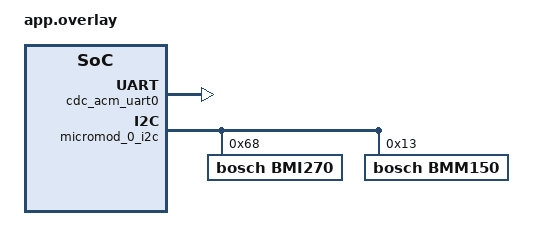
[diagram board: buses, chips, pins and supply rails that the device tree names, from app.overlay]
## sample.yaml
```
sample:
  name: BMI270 Sensor sample
tests:
  sample.sensor.bmi270:
    harness: sensor
    tags:
      - samples
      - sensor
    depends_on: micromod_0_i2c
    
sample:
  name: BMM150 Sensor Sample
tests:
  sample.sensor.bmm150:
    harness: sensor
    tags: sensors
    depends_on: micromod_0_i2c
    filter: dt_compat_enabled("bosch,bmm150")
    
sample:
  name: CDC ACM USB
tests:
  sample.usb.cdc-acm:
    depends_on: usb_device
    tags: usb
    arch_exclude: posix
    harness: console
    harness_config:
      type: one_line
      regex:
        - "Wait for DTR"
  sample.usb_device_next.cdc-acm:
    depends_on: usbd
    tags: usb
    extra_args: CONF_FILE="usbd_next_prj.conf"
    integration_platforms:
      - nrf52840dk/nrf52840
      - nrf54h20dk/nrf54h20/cpuapp
      - frdm_k64f
      - stm32f723e_disco
      - nucleo_f413zh
      - mimxrt685_evk/mimxrt685s/cm33
      - mimxrt1060_evk/mimxrt1062/qspi
      - max32690evkit/max32690/m4
    harness: console
    harness_config:
      type: one_line
      regex:
        - "Wait for DTR"
  sample.usb.cdc-acm.buildonly:
    depends_on: usb_device
    tags: usb
    arch_allow: posix
    build_only: true
    integration_platforms:
      - native_sim
```

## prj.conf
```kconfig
#CONFIG_STDOUT_CONSOLE=y
CONFIG_USB_DEVICE_STACK=y
CONFIG_USB_DEVICE_PRODUCT="Zephyr CDC ACM sample"
CONFIG_USB_DEVICE_VID=0x16c0
CONFIG_USB_DEVICE_PID=0x0483
CONFIG_LOG=y
CONFIG_USB_DRIVER_LOG_LEVEL_ERR=y
CONFIG_USB_DEVICE_LOG_LEVEL_ERR=y
CONFIG_SERIAL=y
CONFIG_UART_INTERRUPT_DRIVEN=y
CONFIG_UART_LINE_CTRL=y
CONFIG_USB_DEVICE_INITIALIZE_AT_BOOT=n
CONFIG_GPIO=y
CONFIG_SPI=y
CONFIG_SPI_ASYNC=y
CONFIG_POLL=y
CONFIG_STATIC_INIT_GNU=y

# Enable uart driver
CONFIG_SERIAL=y

# Console
CONFIG_CONSOLE=y
CONFIG_UART_CONSOLE=y
CONFIG_USB_CDC_ACM_LOG_LEVEL_DBG=n
#CONFIG_SPI_LOG_LEVEL_DBG=y

CONFIG_I2C=y
CONFIG_SENSOR=y
CONFIG_BMI270=y
CONFIG_CBPRINTF_FP_SUPPORT=y
```

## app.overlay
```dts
/*
 * Copyright (c) 2021 Bosch Sensortec GmbH
 *
 * SPDX-License-Identifier: Apache-2.0
 */

&zephyr_udc0 {
	cdc_acm_uart0 {
		compatible = "zephyr,cdc-acm-uart";
		label = "Zephyr USB CDC-ACM";
	};
};

&micromod_0_i2c {
	status = "okay";

	bmi270@68 {
		compatible = "bosch,bmi270";
		reg = <0x68>;
    label = "BMI270";
	};
  
	bmm150@13 {
		compatible = "bosch,bmm150";
		reg = <0x13>;
		label = "BMM150";
	};
};
```

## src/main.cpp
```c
/*
 * Copyright (c) 2021 Bosch Sensortec GmbH
 *
 * SPDX-License-Identifier: Apache-2.0
 */


#include <sample_usbd.h>

#include <stdio.h>
#include <string.h>
#include <zephyr/device.h>
#include <zephyr/drivers/uart.h>
#include <zephyr/kernel.h>
#include <zephyr/sys/ring_buffer.h>

#include <zephyr/usb/usb_device.h>
#include <zephyr/usb/usbd.h>
#include <zephyr/logging/log.h>
#include <zephyr/drivers/gpio.h>

LOG_MODULE_REGISTER(cdc_acm_echo, LOG_LEVEL_INF);

#include "UARTDevice.h"

#include <zephyr/drivers/sensor.h>


const struct device *const usb_uart_dev = DEVICE_DT_GET_ONE(zephyr_cdc_acm_uart);


//UARTDevice SerialX(serial_dev);
UARTDevice USBSerial(usb_uart_dev);


inline int min(int a, int b) {
	return (a <= b)? a : b;
}

inline void delay(uint32_t ms) {
	k_sleep(K_MSEC(ms));
}


static inline void print_baudrate(const struct device *dev)
{
	uint32_t baudrate;
	int ret;

	ret = uart_line_ctrl_get(dev, UART_LINE_CTRL_BAUD_RATE, &baudrate);
	if (ret) {
		LOG_WRN("Failed to get baudrate, ret code %d", ret);
	} else {
		LOG_INF("Baudrate %u", baudrate);
	}
}

#if defined(CONFIG_USB_DEVICE_STACK_NEXT)
static struct usbd_context *sample_usbd;
K_SEM_DEFINE(dtr_sem, 0, 1);

static void sample_msg_cb(struct usbd_context *const ctx, const struct usbd_msg *msg)
{
	LOG_INF("USBD message: %s", usbd_msg_type_string(msg->type));

	if (usbd_can_detect_vbus(ctx)) {
		if (msg->type == USBD_MSG_VBUS_READY) {
			if (usbd_enable(ctx)) {
				LOG_ERR("Failed to enable device support");
			}
		}

		if (msg->type == USBD_MSG_VBUS_REMOVED) {
			if (usbd_disable(ctx)) {
				LOG_ERR("Failed to disable device support");
			}
		}
	}

	if (msg->type == USBD_MSG_CDC_ACM_CONTROL_LINE_STATE) {
		uint32_t dtr = 0U;

		uart_line_ctrl_get(msg->dev, UART_LINE_CTRL_DTR, &dtr);
		if (dtr) {
			k_sem_give(&dtr_sem);
		}
	}

	if (msg->type == USBD_MSG_CDC_ACM_LINE_CODING) {
		print_baudrate(msg->dev);
	}
}

static int enable_usb_device_next(void)
{
	int err;

	sample_usbd = sample_usbd_init_device(sample_msg_cb);
	if (sample_usbd == NULL) {
		LOG_ERR("Failed to initialize USB device");
		return -ENODEV;
	}

	if (!usbd_can_detect_vbus(sample_usbd)) {
		err = usbd_enable(sample_usbd);
		if (err) {
			LOG_ERR("Failed to enable device support");
			return err;
		}
	}

	LOG_INF("USB device support enabled");

	return 0;
}
#endif /* defined(CONFIG_USB_DEVICE_STACK_NEXT) */



// Need to do this.
unsigned long micros(void) {
#ifdef CONFIG_TIMER_HAS_64BIT_CYCLE_COUNTER
  return k_cyc_to_us_floor32(k_cycle_get_64());
#else
  return k_cyc_to_us_floor32(k_cycle_get_32());
#endif
 }



int main(void)
{
  int ret;
  
//===============================================================	
// BUGBUG:: need to wrap this in class...
#if defined(CONFIG_USB_DEVICE_STACK_NEXT)
		ret = enable_usb_device_next();
#else
		ret = usb_enable(NULL);
#endif

	if (ret != 0) {
		LOG_ERR("Failed to enable USB");
		return 0;
	}

//	ring_buf_init(&ringbuf, sizeof(ring_buffer), ring_buffer);

	LOG_INF("Wait for DTR");

#if defined(CONFIG_USB_DEVICE_STACK_NEXT)
	k_sem_take(&dtr_sem, K_FOREVER);
#else
	while (true) {
		uint32_t dtr = 0U;

		uart_line_ctrl_get(usb_uart_dev, UART_LINE_CTRL_DTR, &dtr);
		if (dtr) {
			break;
		} else {
			/* Give CPU resources to low priority threads. */
			k_sleep(K_MSEC(100));
		}
	}
#endif

	LOG_INF("DTR set");

	/* They are optional, we use them to test the interrupt endpoint */
	ret = uart_line_ctrl_set(usb_uart_dev, UART_LINE_CTRL_DCD, 1);
	if (ret) {
		LOG_WRN("Failed to set DCD, ret code %d", ret);
	}

	ret = uart_line_ctrl_set(usb_uart_dev, UART_LINE_CTRL_DSR, 1);
	if (ret) {
		LOG_WRN("Failed to set DSR, ret code %d", ret);
	}

	/* Wait 100ms for the host to do all settings */
	k_msleep(100);

#ifndef CONFIG_USB_DEVICE_STACK_NEXT
	print_baudrate(usb_uart_dev);
#endif
//	uart_irq_callback_set(usb_uart_dev, interrupt_handler);
	/* Enable rx interrupts */
//	uart_irq_rx_enable(usb_uart_dev);

	USBSerial.begin();
	//SerialX.begin();

//	USBSerial.print("Print connector pins\n");
//  	for (size_t i = 0; i < ARRAY_SIZE(connector_pins); i++) {
//  		USBSerial.printf("%u %p %u\n", i, connector_pins[i].port, connector_pins[i].pin);
//  	}
  	// Main loop, would be nice if we setup events for the two RX queues, but startof KISS

  // find BMI270
	const struct device *const dev = DEVICE_DT_GET_ONE(bosch_bmi270);
	struct sensor_value acc[3], gyr[3];
	struct sensor_value full_scale, sampling_freq, oversampling;

	if (!device_is_ready(dev)) {
		USBSerial.printf("BMI270 %s is not ready\n", dev->name);
		return 0;
	}

	USBSerial.printf("BMI270 %p name is %s\n", dev, dev->name);

	/* Setting scale in G, due to loss of precision if the SI unit m/s^2
	 * is used
	 */
	full_scale.val1 = 2;            /* G */
	full_scale.val2 = 0;
	sampling_freq.val1 = 100;       /* Hz. Performance mode */
	sampling_freq.val2 = 0;
	oversampling.val1 = 1;          /* Normal mode */
	oversampling.val2 = 0;

	sensor_attr_set(dev, SENSOR_CHAN_ACCEL_XYZ, SENSOR_ATTR_FULL_SCALE,
			&full_scale);
	sensor_attr_set(dev, SENSOR_CHAN_ACCEL_XYZ, SENSOR_ATTR_OVERSAMPLING,
			&oversampling);
	/* Set sampling frequency last as this also sets the appropriate
	 * power mode. If already sampling, change to 0.0Hz before changing
	 * other attributes
	 */
	sensor_attr_set(dev, SENSOR_CHAN_ACCEL_XYZ,
			SENSOR_ATTR_SAMPLING_FREQUENCY,
			&sampling_freq);


	/* Setting scale in degrees/s to match the sensor scale */
	full_scale.val1 = 500;          /* dps */
	full_scale.val2 = 0;
	sampling_freq.val1 = 100;       /* Hz. Performance mode */
	sampling_freq.val2 = 0;
	oversampling.val1 = 1;          /* Normal mode */
	oversampling.val2 = 0;

	sensor_attr_set(dev, SENSOR_CHAN_GYRO_XYZ, SENSOR_ATTR_FULL_SCALE,
			&full_scale);
	sensor_attr_set(dev, SENSOR_CHAN_GYRO_XYZ, SENSOR_ATTR_OVERSAMPLING,
			&oversampling);
	/* Set sampling frequency last as this also sets the appropriate
	 * power mode. If already sampling, change sampling frequency to
	 * 0.0Hz before changing other attributes
	 */
	sensor_attr_set(dev, SENSOR_CHAN_GYRO_XYZ,
			SENSOR_ATTR_SAMPLING_FREQUENCY,
			&sampling_freq);

	while (1) {
		/* 10ms period, 100Hz Sampling frequency */
		k_sleep(K_MSEC(10));

		sensor_sample_fetch(dev);

		sensor_channel_get(dev, SENSOR_CHAN_ACCEL_XYZ, acc);
		sensor_channel_get(dev, SENSOR_CHAN_GYRO_XYZ, gyr);
    
/**
 * @brief Representation of a sensor readout value.
 *  extracted from sensor.h
 * The value is represented as having an integer and a fractional part,
 * and can be obtained using the formula val1 + val2 * 10^(-6). Negative
 * values also adhere to the above formula, but may need special attention.
 * Here are some examples of the value representation:
 *
 *      0.5: val1 =  0, val2 =  500000
 *     -0.5: val1 =  0, val2 = -500000
 *     -1.0: val1 = -1, val2 =  0
 *     -1.5: val1 = -1, val2 = -500000
 */
    float accel[3], gyro[3];
    for(uint8_t i = 0; i < 3; i++) {
      accel[i] = (float)acc[i].val1 + (float)acc[i].val2 / 1000000;
      gyro[i] =  (float)gyr[i].val1 + (float)gyr[i].val2 / 1000000;
    }
    USBSerial.printf("AX: %.6f; AY: %.6f; AZ: %.6f; GX: %.6f; GY: %.6f; GZ: %.6f;\n", accel[0], accel[1],accel[2], gyro[0],gyro[1], gyro[2]);
	}
	return 0;
}
```

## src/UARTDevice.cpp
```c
#include "UARTDevice.h"
#include <zephyr/logging/log.h>

// This is more or less the same as the Arduino wrapper...

void UARTDevice::begin() {
	if (!device_is_ready(_uart)) {
		printk("ERROR: UART device not ready");
		return;;
	}
	// probably more later, just make sure rx is setup as well as our handler
	uart_irq_callback_user_data_set(_uart, UARTDevice::interrupt_handler, this);

	// Clear the two buffers.
	k_sem_take(&_rx_sem, K_FOREVER);
	ring_buf_reset(&_rx_ringbuf);
	k_sem_give(&_rx_sem);

	k_sem_take(&_tx_sem, K_FOREVER);
	ring_buf_reset(&_tx_ringbuf);
	k_sem_give(&_tx_sem);

	// Enable the RX interrupt.
	uart_irq_rx_enable(_uart);
}


void UARTDevice::flush() {
	while (ring_buf_size_get(&_tx_ringbuf) > 0) {
		k_yield();
	}
	while (uart_irq_tx_complete(_uart) == 0){
		k_yield();
	}

}

size_t UARTDevice::write(const uint8_t *buffer, size_t size) {
	int idx = 0;

	while (1) {
		k_sem_take(&_tx_sem, K_FOREVER);
		auto ret = ring_buf_put(&_tx_ringbuf, &buffer[idx], size-idx);
		k_sem_give(&_tx_sem);
		if (ret < 0) {
			return 0;
		}
		idx += ret;
		if (ret == 0) {
			uart_irq_tx_enable(_uart);
			k_yield();
		}
		if (idx == size) {
			break;
		}
	}

	uart_irq_tx_enable(_uart);

	return size;

}

size_t UARTDevice::print(const char *sz) {
	return write((const uint8_t*)sz, strlen(sz));
}

size_t UARTDevice::println(unsigned long ul) {
	char buffer[10];
	sprintf(buffer, "%lu\n");
	return write((const uint8_t*)buffer, strlen(buffer));
}



size_t UARTDevice::printf(const char *format, ...) {
	char buffer[256];
	va_list ap;
	va_start(ap, format);
	int cb_ret = vsnprintf(buffer, sizeof(buffer),format, ap);
	write((const uint8_t*)buffer, cb_ret);
	return cb_ret;
}


int UARTDevice::available() {
	int ret;

	k_sem_take(&_rx_sem, K_FOREVER);
	ret = ring_buf_size_get(&_rx_ringbuf);
	k_sem_give(&_rx_sem);

	return ret;

}

int UARTDevice::availableForWrite() {
	int ret;

	k_sem_take(&_rx_sem, K_FOREVER);
	ret = ring_buf_space_get(&_rx_ringbuf);
	k_sem_give(&_rx_sem);

	return ret;

}

int UARTDevice::peek() {
	uint8_t data;
	k_sem_take(&_rx_sem, K_FOREVER);
	uint32_t cb_ret = ring_buf_peek(&_rx_ringbuf, &data, 1);
	k_sem_give(&_rx_sem);

	return cb_ret? data : -1;

}

int UARTDevice::read(uint8_t *buffer, size_t size) {// currently not like Arduino only what is there...
    k_sem_take(&_rx_sem, K_FOREVER);
    uint32_t cb_ret = ring_buf_get(&_rx_ringbuf, buffer, size);
	k_sem_give(&_rx_sem);

	return cb_ret;
}


int UARTDevice::read() {
	uint8_t data;

    k_sem_take(&_rx_sem, K_FOREVER);
    uint32_t cb_ret = ring_buf_get(&_rx_ringbuf, &data, 1);
	k_sem_give(&_rx_sem);

	return cb_ret? data : -1;

}


void UARTDevice::interrupt_handler(const struct device *dev, void *data) {
	reinterpret_cast<UARTDevice *>(data)->_process_interrupt();
}

// I am not going to have the IRQ take the semaphores for now...

void UARTDevice::_process_interrupt() {
	uint8_t buf[8];
	int length;
	int ret = 0;

	if (!uart_irq_update(_uart)) {
		return;
	}

	while (uart_irq_rx_ready(_uart) && ((length = uart_fifo_read(_uart, buf, sizeof(buf))) > 0)) {
		if (length > (int)sizeof(buf)) length = (int)sizeof(buf);
		ret = ring_buf_put(&_rx_ringbuf, &buf[0], length);

		if (ret < 0) {
			break;
		}
	}


	while (uart_irq_tx_ready(_uart) && ((length = ring_buf_size_get(&_tx_ringbuf)) > 0)) {
		if (length > (int)sizeof(buf)) length = (int)sizeof(buf);
		ring_buf_peek(&_tx_ringbuf, &buf[0], length);

		ret = uart_fifo_fill(_uart, &buf[0], length);
		if (ret < 0) {
			break;
		} else {
			ring_buf_get(&_tx_ringbuf, &buf[0], ret);
		}
	}

	if (ring_buf_size_get(&_tx_ringbuf) == 0) {
		uart_irq_tx_disable(_uart);
	}

}
```
